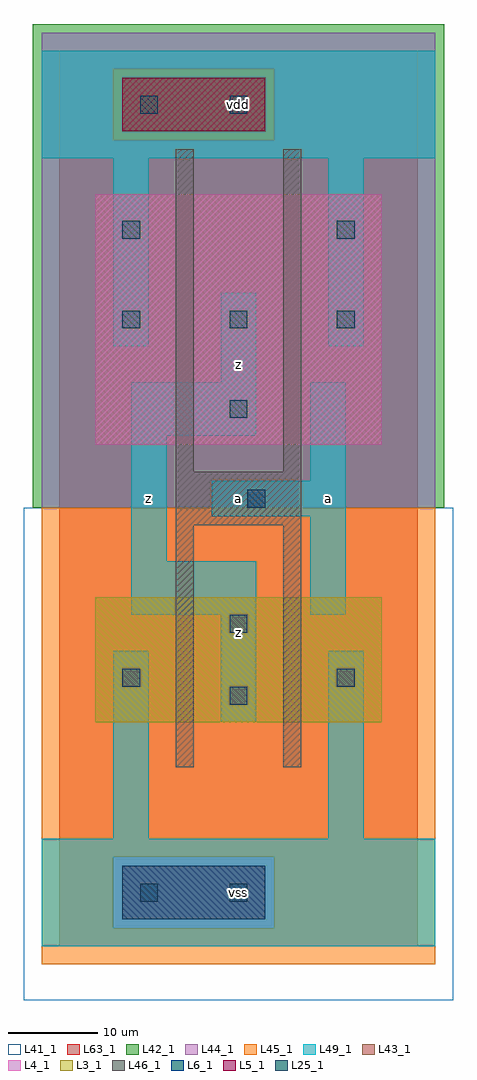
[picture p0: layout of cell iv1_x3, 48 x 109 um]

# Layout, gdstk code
import gdstk
lib = gdstk.Library(unit=1e-6, precision=1e-09)
def R(c, l, rs):  # rectangles x0, y0, x1, y1
    for r in rs: c.add(gdstk.rectangle(r[:2], r[2:], *l))
def A(c, l, x, y, w, h, nx, ny, dx, dy):  # array of equal rectangles
    R(c, l, [(x+i*dx, y+j*dy, x+i*dx+w, y+j*dy+h) for i in range(nx) for j in range(ny)])
L3_1 = (3, 1)
L4_1 = (4, 1)
L5_1 = (5, 1)
L6_1 = (6, 1)
L25_1 = (25, 1)
L41_1 = (41, 1)
L42_1 = (42, 1)
L43_1 = (43, 1)
L44_1 = (44, 1)
L45_1 = (45, 1)
L46_1 = (46, 1)
L49_1 = (49, 1)
L63_1 = (63, 1)

iv1_x3 = lib.new_cell('iv1_x3')
R(iv1_x3, L3_1, [(4,25,36,39)])
R(iv1_x3, L4_1, [(4,56,36,84)])
R(iv1_x3, L5_1, [(7,91,23,97)])
R(iv1_x3, L6_1, [(7,3,23,9)])
A(iv1_x3, L25_1, 7, 69, 2, 2, 3, 1, 12, 0)
R(iv1_x3, L25_1, [(9,5,11,7), (19,5,21,7), (19,27,21,29), (7,29,9,31), (31,29,33,31), (19,35,21,37), (21,49,23,51), (19,59,21,61), (7,79,9,81), (31,79,33,81), (9,93,11,95), (19,93,21,95)])
R(iv1_x3, L41_1, [(-4,-6,44,49), (-3,-3,43,49)])
R(iv1_x3, L42_1, [(-3,49,43,103)])
R(iv1_x3, L43_1, [(7,3,23,9), (4,25,36,39), (4,56,36,84), (7,91,23,97)])
R(iv1_x3, L44_1, [(6,2,24,10), (-2,49,42,90), (-2,90,6,98), (24,90,42,98), (-2,98,42,102)])
R(iv1_x3, L45_1, [(-2,-2,42,2), (-2,2,6,10), (24,2,42,10), (-2,10,42,49), (6,90,24,98)])
R(iv1_x3, L46_1, [(13,20,15,47), (25,20,27,47), (13,47,27,53), (13,53,15,89), (25,53,27,89)])
R(iv1_x3, L49_1, [(-2,0,42,12), (6,12,10,33), (30,12,34,33), (18,25,22,37), (8,37,22,43), (28,37,32,48), (8,43,12,57), (17,48,32,52), (28,52,32,63), (8,57,22,63), (18,63,22,73), (6,67,10,88), (30,67,34,88), (-2,88,42,100)])
R(iv1_x3, L63_1, [(0,0,40,100)])
iv1_x3.add(gdstk.Label('z', (10,50), layer=49, texttype=1))
iv1_x3.add(gdstk.Label('z', (10,50), layer=49, texttype=1))
iv1_x3.add(gdstk.Label('vss', (20,6), layer=49, texttype=1))
iv1_x3.add(gdstk.Label('vss', (20,6), layer=49, texttype=1))
iv1_x3.add(gdstk.Label('z', (20,35), layer=49, texttype=1))
iv1_x3.add(gdstk.Label('z', (20,35), layer=49, texttype=1))
iv1_x3.add(gdstk.Label('a', (20,50), layer=49, texttype=1))
iv1_x3.add(gdstk.Label('a', (20,50), layer=49, texttype=1))
iv1_x3.add(gdstk.Label('z', (20,65), layer=49, texttype=1))
iv1_x3.add(gdstk.Label('z', (20,65), layer=49, texttype=1))
iv1_x3.add(gdstk.Label('vdd', (20,94), layer=49, texttype=1))
iv1_x3.add(gdstk.Label('vdd', (20,94), layer=49, texttype=1))
iv1_x3.add(gdstk.Label('a', (30,50), layer=49, texttype=1))
iv1_x3.add(gdstk.Label('a', (30,50), layer=49, texttype=1))

lib.write_gds('iv1_x3.gds')
